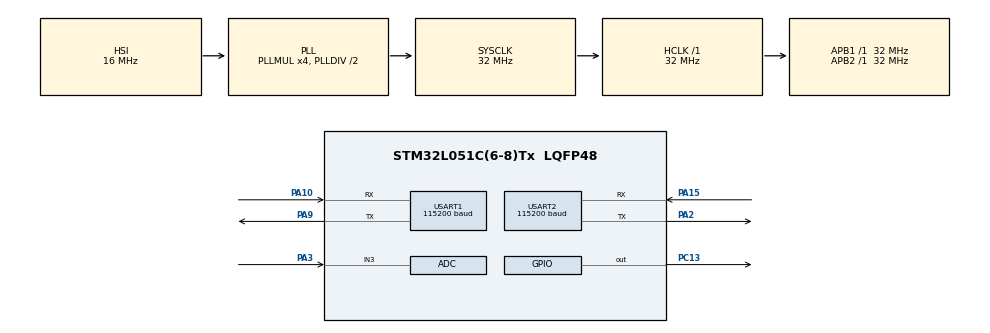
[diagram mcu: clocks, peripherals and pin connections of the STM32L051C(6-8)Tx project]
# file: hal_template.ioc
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Dma.Request0=USART2_RX
Dma.Request1=USART2_TX
Dma.USART2_RX.0.Direction=DMA_PERIPH_TO_MEMORY
Dma.USART2_RX.0.Instance=DMA1_Channel5
Dma.USART2_RX.0.MemDataAlignment=DMA_MDATAALIGN_BYTE
Dma.USART2_RX.0.MemInc=DMA_MINC_ENABLE
Dma.USART2_RX.0.Mode=DMA_CIRCULAR
Dma.USART2_RX.0.PeriphDataAlignment=DMA_PDATAALIGN_BYTE
Dma.USART2_RX.0.PeriphInc=DMA_PINC_DISABLE
Dma.USART2_RX.0.Priority=DMA_PRIORITY_VERY_HIGH
Dma.USART2_TX.1.Direction=DMA_MEMORY_TO_PERIPH
Dma.USART2_TX.1.Instance=DMA1_Channel4
Dma.USART2_TX.1.MemDataAlignment=DMA_MDATAALIGN_BYTE
Dma.USART2_TX.1.MemInc=DMA_MINC_ENABLE
Dma.USART2_TX.1.Mode=DMA_NORMAL
Dma.USART2_TX.1.PeriphDataAlignment=DMA_PDATAALIGN_BYTE
Dma.USART2_TX.1.PeriphInc=DMA_PINC_DISABLE
Dma.USART2_TX.1.Priority=DMA_PRIORITY_MEDIUM
Mcu.Family=STM32L0
Mcu.Name=STM32L051C(6-8)Tx
Mcu.Package=LQFP48
NVIC.DMA1_Channel4_5_6_7_IRQn=true\:0\:0\:false\:false\:true\:true\:true\:true
NVIC.USART1_IRQn=true\:0\:0\:false\:false\:true\:true\:true\:true
NVIC.USART2_IRQn=true\:0\:0\:false\:false\:true\:true\:true\:true
PA10.Mode=Asynchronous
PA10.Signal=USART1_RX
PA13.Mode=Serial_Wire
PA13.Signal=SYS_SWDIO
PA14.Mode=Serial_Wire
PA14.Signal=SYS_SWCLK
PA15.Mode=Asynchronous
PA15.Signal=USART2_RX
PA2.Mode=Asynchronous
PA2.Signal=USART2_TX
PA3.Mode=IN3
PA3.Signal=ADC_IN3
PA9.Mode=Asynchronous
PA9.Signal=USART1_TX
PC13.Signal=GPIO_Output
ProjectManager.HeapSize=0x80
ProjectManager.StackSize=0x900
ProjectManager.TargetToolchain=MDK-ARM V5
RCC.AHBFreq_Value=32000000
RCC.APB1Freq_Value=32000000
RCC.APB1TimFreq_Value=32000000
RCC.APB2Freq_Value=32000000
RCC.APB2TimFreq_Value=32000000
RCC.HCLKFreq_Value=32000000
RCC.HSE_VALUE=8000000
RCC.HSI16_VALUE=16000000
RCC.HSI_VALUE=16000000
RCC.LSE_VALUE=32768
RCC.MSI_VALUE=2097000
RCC.PLLMUL=RCC_PLLMUL_4
RCC.SYSCLKFreq_VALUE=32000000
RCC.SYSCLKSource=RCC_SYSCLKSOURCE_PLLCLK
RCC.VCOOutputFreq_Value=64000000
USART1.BaudRate=115200
USART1.VirtualMode-Asynchronous=VM_ASYNC
USART2.BaudRate=115200
USART2.VirtualMode-Asynchronous=VM_ASYNC
board=custom

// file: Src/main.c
/* USER CODE BEGIN Header */
/**
  ******************************************************************************
  * @file           : main.c
  * @brief          : Main program body
  ******************************************************************************
  * @attention
  *
  * <h2><center>&copy; Copyright (c) 2019 STMicroelectronics.
  * All rights reserved.</center></h2>
  *
  * This software component is licensed by ST under BSD 3-Clause license,
  * the "License"; You may not use this file except in compliance with the
  * License. You may obtain a copy of the License at:
  *                        opensource.org/licenses/BSD-3-Clause
  *
  ******************************************************************************
  */
/* USER CODE END Header */

#include "main.h"

/* USER CODE BEGIN Includes */
#include <stdio.h>
#include <string.h>
#include "ct02_guard.h"

/* USER CODE END Includes */

/* USER CODE BEGIN PTD */
typedef struct {
  uint32_t lat_udeg;
  uint32_t lng_udeg;
  char lat_dir;
  char lng_dir;
} hmi_screen_gps_t;

typedef struct {
  uint32_t hours;
  uint8_t minutes;
} hmi_screen_uptime_t;

typedef struct {
  uint8_t type;
  hmi_screen_gps_t gps;
  hmi_screen_uptime_t uptime;
  uint32_t report_count;
  uint32_t interval_s;
} hmi_screen_payload_t;

/* USER CODE END PTD */

/* USER CODE BEGIN PD */
#define CT02_UART2_DMA_RX_BUF_SIZE 128u
#define HMI_SCREEN_TX_BUF_SIZE 96u
#define HMI_SCREEN_CMD_BUF_SIZE 64u
#define HMI_SCREEN_PAYLOAD_NONE 0u
#define HMI_SCREEN_PAYLOAD_GPS 1u
#define HMI_SCREEN_PAYLOAD_UPTIME 2u
#define HMI_SCREEN_PAYLOAD_REPORT_COUNT 3u
#define HMI_SCREEN_PAYLOAD_INTERVAL 4u
#define HMI_SCREEN_PAYLOAD_MQTT_INFO 5u
#define HMI_SCREEN_GPS_CMD_COUNT 4u
#define HMI_SCREEN_UPTIME_CMD_COUNT 2u
#define HMI_SCREEN_REPORT_COUNT_CMD_COUNT 1u
#define HMI_SCREEN_INTERVAL_CMD_COUNT 1u
#define HMI_SCREEN_MQTT_INFO_CMD_COUNT 3u
#define HMI_SCREEN_CMD_GAP_MS 20u
#define HMI_SCREEN_UPTIME_PERIOD_MS 60000u
#define HMI_SCREEN_RX_FRAME_LEN 5u
#define HMI_SCREEN_RX_HEADER 0x05u
#define HMI_SCREEN_RX_OPCODE_SET_INTERVAL 0x52u
#define HMI_SCREEN_RX_TAIL 0x26u
#define HMI_SCREEN_RX_RETRY_MS 100u
#define HMI_SCREEN_INTERVAL_MIN_S 10u
#define HMI_SCREEN_INTERVAL_MAX_S 65535u
#define HMI_SCREEN_MAX_LAT_UDEG 90000000u
#define HMI_SCREEN_MAX_LNG_UDEG 180000000u
#define HMI_SCREEN_MQTT_ADDRESS "120.26.111.75:6011"
#define HMI_SCREEN_MQTT_CONNECTED_BCO 1032u
#define HMI_SCREEN_MQTT_DISCONNECTED_BCO 2178u
#define GPS_INTERVAL_EEPROM_ADDR DATA_EEPROM_BASE
#define GPS_INTERVAL_EEPROM_RETRY_MS 1000u
#define GPS_INTERVAL_EEPROM_WAIT_LIMIT 100000u
#define GPS_INTERVAL_EEPROM_CLEAR_FLAGS (FLASH_SR_EOP | FLASH_SR_WRPERR | FLASH_SR_PGAERR | FLASH_SR_SIZERR | FLASH_SR_OPTVERR | FLASH_SR_RDERR | FLASH_SR_NOTZEROERR | FLASH_SR_FWWERR)

/* USER CODE END PD */

ADC_HandleTypeDef hadc;

UART_HandleTypeDef huart1;
UART_HandleTypeDef huart2;
DMA_HandleTypeDef hdma_usart2_rx;
DMA_HandleTypeDef hdma_usart2_tx;

/* USER CODE BEGIN PV */
#if defined(HAL_UART_MODULE_ENABLED)
static ct02_guard_ctx_t g_ct02_guard;
static uint8_t g_ct02_guard_enabled = 0u;
static uint8_t g_ct02_rx_irq_armed = 0u;
static uint8_t g_ct02_uart2_dma_enabled = 0u;
static uint8_t g_ct02_uart2_dma_rx_buf[CT02_UART2_DMA_RX_BUF_SIZE];
static volatile uint16_t g_ct02_uart2_dma_last_pos = 0u;
static uint32_t g_ct02_wd_feed_snapshot = 0u;
static volatile uint8_t g_ct02_wd_timeout_flag = 0u;
static uint32_t g_ct02_wd_next_ms = 0u;
static uint32_t g_ct02_rx_retry_ms = 0u;
static volatile uint8_t g_hmi_screen_tx_busy = 0u;
static volatile uint8_t g_hmi_screen_rx_byte = 0u;
static volatile uint8_t g_hmi_screen_rx_armed = 0u;
static volatile uint8_t g_hmi_screen_set_interval_pending = 0u;
static volatile uint16_t g_hmi_screen_set_interval_s = 0u;
static uint8_t g_hmi_screen_active = 0u;
static uint8_t g_hmi_screen_cmd_index = 0u;
static uint8_t g_hmi_screen_rx_frame[HMI_SCREEN_RX_FRAME_LEN];
static uint8_t g_hmi_screen_rx_len = 0u;
static uint8_t g_hmi_screen_pending_gps_valid = 0u;
static uint8_t g_hmi_screen_pending_report_count_valid = 0u;
static uint8_t g_hmi_screen_pending_interval_valid = 0u;
static uint8_t g_hmi_screen_pending_mqtt_info_valid = 0u;
static uint8_t g_hmi_screen_pending_uptime_valid = 0u;
static uint8_t g_hmi_screen_tx_buf[HMI_SCREEN_TX_BUF_SIZE];
static uint32_t g_hmi_screen_next_tx_ms = 0u;
static uint32_t g_hmi_screen_next_uptime_ms = 0u;
static volatile uint32_t g_hmi_screen_rx_retry_ms = 0u;
static uint32_t g_hmi_screen_report_count = 0u;
static uint16_t g_gps_interval_eeprom_saved_s = HMI_SCREEN_INTERVAL_MIN_S;
static uint16_t g_gps_interval_eeprom_pending_s = 0u;
static uint32_t g_gps_interval_eeprom_retry_ms = 0u;
static uint8_t g_gps_interval_eeprom_pending = 0u;
static hmi_screen_payload_t g_hmi_screen_active_payload;
static hmi_screen_gps_t g_hmi_screen_pending_gps;
static uint32_t g_hmi_screen_pending_report_count = 0u;
static uint32_t g_hmi_screen_pending_interval_s = 0u;
static hmi_screen_uptime_t g_hmi_screen_pending_uptime;
#endif

/* USER CODE END PV */

void SystemClock_Config(void);
static void MX_GPIO_Init(void);
static void MX_DMA_Init(void);
static void MX_USART1_UART_Init(void);
static void MX_USART2_UART_Init(void);
static void MX_ADC_Init(void);
/* USER CODE BEGIN PFP */
#if defined(HAL_UART_MODULE_ENABLED)
void CT02_USART2_IdleHandler(void);
static void CT02_App_Tick(uint32_t now_ms);
static void CT02_Guard_DmaRxDrain(void);
static HAL_StatusTypeDef CT02_Guard_StartDmaRx(void);
static void CT02_Guard_AppInit(void);
static uint32_t HMI_Screen_AbsMicrodegrees(float degrees, uint32_t max_udeg);
static uint16_t HMI_Screen_AppendCommand(uint8_t *dst, uint16_t used, uint16_t cap, const char *cmd);
static HAL_StatusTypeDef HMI_Screen_StartRx(void);
static void HMI_Screen_ParseRxByte(uint8_t byte);
static uint8_t HMI_Screen_CommandCount(uint8_t payload_type);
static uint16_t HMI_Screen_BuildCommand(const hmi_screen_payload_t *payload, uint8_t cmd_index, uint8_t *dst, uint16_t cap);
static HAL_StatusTypeDef HMI_Screen_StartCommand(const hmi_screen_payload_t *payload, uint8_t cmd_index);
static HAL_StatusTypeDef HMI_Screen_StartPayload(const hmi_screen_payload_t *payload);
static HAL_StatusTypeDef HMI_Screen_StartGps(const hmi_screen_gps_t *gps);
static void HMI_Screen_Service(void);
static void HMI_Screen_RequestGps(const ct02_gps_sample_t *sample);
static void HMI_Screen_RequestReportCount(uint32_t report_count);
static void HMI_Screen_RequestInterval(uint32_t interval_s);
static void HMI_Screen_RequestMqttInfo(void);
static void HMI_Screen_RequestUptime(uint32_t now_ms);
static void HMI_Screen_UptimeTick(uint32_t now_ms);
static void HMI_Screen_RxTick(uint32_t now_ms);
static uint8_t GPS_IntervalEeprom_Load(uint16_t *interval_s);
static void GPS_IntervalEeprom_SetBaseline(uint16_t interval_s);
static void GPS_IntervalEeprom_Tick(uint32_t now_ms);
#endif

/* USER CODE END PFP */

/* USER CODE BEGIN 0 */
#if defined(HAL_UART_MODULE_ENABLED)
static uint8_t GPS_IntervalEeprom_Unpack(uint32_t record, uint16_t *interval_s)
{
  uint16_t value = (uint16_t)(record & 0xFFFFu);
  uint16_t check = (uint16_t)((record >> 16) & 0xFFFFu);

  if ((interval_s == NULL) ||
      (value < HMI_SCREEN_INTERVAL_MIN_S) ||
      (value > HMI_SCREEN_INTERVAL_MAX_S) ||
      (check != (uint16_t)~value)) {
    return 0u;
  }

  *interval_s = value;
  return 1u;
}

static uint32_t GPS_IntervalEeprom_Pack(uint16_t interval_s)
{
  return ((uint32_t)((uint16_t)~interval_s) << 16) | (uint32_t)interval_s;
}

static uint8_t GPS_IntervalEeprom_Load(uint16_t *interval_s)
{
  return GPS_IntervalEeprom_Unpack(*(__IO uint32_t *)GPS_INTERVAL_EEPROM_ADDR, interval_s);
}

static uint8_t GPS_IntervalEeprom_WaitReady(void)
{
  uint32_t guard = GPS_INTERVAL_EEPROM_WAIT_LIMIT;

  while ((FLASH->SR & FLASH_SR_BSY) != 0u) {
    if (guard == 0u) {
      return 0u;
    }
    guard--;
  }

  return 1u;
}

static uint8_t GPS_IntervalEeprom_Unlock(void)
{
  if ((FLASH->PECR & FLASH_PECR_PELOCK) != 0u) {
    __disable_irq();
    FLASH->PEKEYR = FLASH_PEKEY1;
    FLASH->PEKEYR = FLASH_PEKEY2;
    __enable_irq();
  }

  return ((FLASH->PECR & FLASH_PECR_PELOCK) == 0u) ? 1u : 0u;
}

static uint8_t GPS_IntervalEeprom_Write(uint16_t interval_s)
{
  uint32_t record = 0u;

  if ((interval_s < HMI_SCREEN_INTERVAL_MIN_S) ||
      (interval_s > HMI_SCREEN_INTERVAL_MAX_S)) {
    return 0u;
  }

  record = GPS_IntervalEeprom_Pack(interval_s);
  if (*(__IO uint32_t *)GPS_INTERVAL_EEPROM_ADDR == record) {
    return 1u;
  }

  if ((GPS_IntervalEeprom_WaitReady() == 0u) ||
      (GPS_IntervalEeprom_Unlock() == 0u)) {
    return 0u;
  }

  FLASH->SR = GPS_INTERVAL_EEPROM_CLEAR_FLAGS;
  *(__IO uint32_t *)GPS_INTERVAL_EEPROM_ADDR = record;
  if (GPS_IntervalEeprom_WaitReady() == 0u) {
    FLASH->PECR |= FLASH_PECR_PELOCK;
    return 0u;
  }
  if ((FLASH->SR & (GPS_INTERVAL_EEPROM_CLEAR_FLAGS & ~FLASH_SR_EOP)) != 0u) {
    FLASH->PECR |= FLASH_PECR_PELOCK;
    return 0u;
  }

  FLASH->PECR |= FLASH_PECR_PELOCK;
  return (*(__IO uint32_t *)GPS_INTERVAL_EEPROM_ADDR == record) ? 1u : 0u;
}

static void GPS_IntervalEeprom_SetBaseline(uint16_t interval_s)
{
  g_gps_interval_eeprom_saved_s = interval_s;
  g_gps_interval_eeprom_pending_s = 0u;
  g_gps_interval_eeprom_retry_ms = 0u;
  g_gps_interval_eeprom_pending = 0u;
}

static void GPS_IntervalEeprom_RequestSave(uint16_t interval_s)
{
  if ((interval_s < HMI_SCREEN_INTERVAL_MIN_S) ||
      (interval_s > HMI_SCREEN_INTERVAL_MAX_S)) {
    return;
  }
  if (interval_s == g_gps_interval_eeprom_saved_s) {
    g_gps_interval_eeprom_pending = 0u;
    g_gps_interval_eeprom_pending_s = 0u;
    return;
  }

  g_gps_interval_eeprom_pending_s = interval_s;
  g_gps_interval_eeprom_pending = 1u;
}

static void GPS_IntervalEeprom_Tick(uint32_t now_ms)
{
  uint16_t interval_s = 0u;

  if (g_ct02_guard_enabled != 0u) {
    GPS_IntervalEeprom_RequestSave(g_ct02_guard.report_interval_s);
  }

  if (g_gps_interval_eeprom_pending == 0u) {
    return;
  }
  if ((g_gps_interval_eeprom_retry_ms != 0u) &&
      ((int32_t)(now_ms - g_gps_interval_eeprom_retry_ms) < 0)) {
    return;
  }

  interval_s = g_gps_interval_eeprom_pending_s;
  if (GPS_IntervalEeprom_Write(interval_s) != 0u) {
    g_gps_interval_eeprom_saved_s = interval_s;
    g_gps_interval_eeprom_pending = 0u;
    g_gps_interval_eeprom_retry_ms = 0u;
  } else {
    g_gps_interval_eeprom_retry_ms = now_ms + GPS_INTERVAL_EEPROM_RETRY_MS;
  }
}

static uint32_t HMI_Screen_AbsMicrodegrees(float degrees, uint32_t max_udeg)
{
  float value = degrees;
  uint32_t scaled = 0u;

  if (value < 0.0f) {
    value = -value;
  }
  scaled = (uint32_t)((value * 1000000.0f) + 0.5f);
  if (scaled > max_udeg) {
    scaled = max_udeg;
  }
  return scaled;
}

static uint16_t HMI_Screen_AppendCommand(uint8_t *dst, uint16_t used, uint16_t cap, const char *cmd)
{
  size_t len = 0u;

  if ((dst == NULL) || (cmd == NULL) || (used >= cap)) {
    return 0u;
  }

  len = strlen(cmd);
  if (((size_t)used + len + 3u) > (size_t)cap) {
    return 0u;
  }

  memcpy(&dst[used], cmd, len);
  used = (uint16_t)(used + (uint16_t)len);
  dst[used++] = 0xFFu;
  dst[used++] = 0xFFu;
  dst[used++] = 0xFFu;
  return used;
}

static HAL_StatusTypeDef HMI_Screen_StartRx(void)
{
  HAL_StatusTypeDef hs = HAL_ERROR;

  if (huart1.Instance != USART1) {
    g_hmi_screen_rx_armed = 0u;
    return HAL_ERROR;
  }

  hs = HAL_UART_Receive_IT(&huart1, (uint8_t *)&g_hmi_screen_rx_byte, 1u);
  if ((hs == HAL_OK) || (hs == HAL_BUSY)) {
    g_hmi_screen_rx_armed = 1u;
  } else {
    g_hmi_screen_rx_armed = 0u;
    g_hmi_screen_rx_retry_ms = HAL_GetTick() + HMI_SCREEN_RX_RETRY_MS;
  }
  return hs;
}

static void HMI_Screen_ParseRxByte(uint8_t byte)
{
  uint16_t interval_s = 0u;

  if (g_hmi_screen_rx_len == 0u) {
    if (byte == HMI_SCREEN_RX_HEADER) {
      g_hmi_screen_rx_frame[0] = byte;
      g_hmi_screen_rx_len = 1u;
    }
    return;
  }

  if (g_hmi_screen_rx_len < HMI_SCREEN_RX_FRAME_LEN) {
    g_hmi_screen_rx_frame[g_hmi_screen_rx_len++] = byte;
  }

  if ((g_hmi_screen_rx_len == 2u) &&
      (g_hmi_screen_rx_frame[1] != HMI_SCREEN_RX_OPCODE_SET_INTERVAL)) {
    g_hmi_screen_rx_len = (byte == HMI_SCREEN_RX_HEADER) ? 1u : 0u;
    if (g_hmi_screen_rx_len != 0u) {
      g_hmi_screen_rx_frame[0] = byte;
    }
    return;
  }

  if (g_hmi_screen_rx_len < HMI_SCREEN_RX_FRAME_LEN) {
    return;
  }

  if ((g_hmi_screen_rx_frame[0] == HMI_SCREEN_RX_HEADER) &&
      (g_hmi_screen_rx_frame[1] == HMI_SCREEN_RX_OPCODE_SET_INTERVAL) &&
      (g_hmi_screen_rx_frame[4] == HMI_SCREEN_RX_TAIL)) {
    interval_s = (uint16_t)g_hmi_screen_rx_frame[2] |
                 ((uint16_t)g_hmi_screen_rx_frame[3] << 8);
    if ((interval_s >= HMI_SCREEN_INTERVAL_MIN_S) &&
        (interval_s <= HMI_SCREEN_INTERVAL_MAX_S)) {
      g_hmi_screen_set_interval_s = interval_s;
      g_hmi_screen_set_interval_pending = 1u;
    }
  }

  g_hmi_screen_rx_len = (byte == HMI_SCREEN_RX_HEADER) ? 1u : 0u;
  if (g_hmi_screen_rx_len != 0u) {
    g_hmi_screen_rx_frame[0] = byte;
  }
}

static uint8_t HMI_Screen_CommandCount(uint8_t payload_type)
{
  if (payload_type == HMI_SCREEN_PAYLOAD_GPS) {
    return HMI_SCREEN_GPS_CMD_COUNT;
  }
  if (payload_type == HMI_SCREEN_PAYLOAD_UPTIME) {
    return HMI_SCREEN_UPTIME_CMD_COUNT;
  }
  if (payload_type == HMI_SCREEN_PAYLOAD_REPORT_COUNT) {
    return HMI_SCREEN_REPORT_COUNT_CMD_COUNT;
  }
  if (payload_type == HMI_SCREEN_PAYLOAD_INTERVAL) {
    return HMI_SCREEN_INTERVAL_CMD_COUNT;
  }
  if (payload_type == HMI_SCREEN_PAYLOAD_MQTT_INFO) {
    return HMI_SCREEN_MQTT_INFO_CMD_COUNT;
  }
  return 0u;
}

static uint16_t HMI_Screen_BuildCommand(const hmi_screen_payload_t *payload, uint8_t cmd_index, uint8_t *dst, uint16_t cap)
{
  char cmd[HMI_SCREEN_CMD_BUF_SIZE];
  const char *device_id = NULL;
  int n = 0;

  if ((payload == NULL) || (dst == NULL)) {
    return 0u;
  }

  if (payload->type == HMI_SCREEN_PAYLOAD_GPS) {
    switch (cmd_index) {
      case 0u:
        n = snprintf(cmd, sizeof(cmd), "x0.val=%lu", (unsigned long)payload->gps.lat_udeg);
        break;
      case 1u:
        n = snprintf(cmd, sizeof(cmd), "t8.txt=\"%c\"", payload->gps.lat_dir);
        break;
      case 2u:
        n = snprintf(cmd, sizeof(cmd), "x1.val=%lu", (unsigned long)payload->gps.lng_udeg);
        break;
      case 3u:
        n = snprintf(cmd, sizeof(cmd), "t9.txt=\"%c\"", payload->gps.lng_dir);
        break;
      default:
        return 0u;
    }
  } else if (payload->type == HMI_SCREEN_PAYLOAD_UPTIME) {
    switch (cmd_index) {
      case 0u:
        n = snprintf(cmd, sizeof(cmd), "n3.val=%lu", (unsigned long)payload->uptime.hours);
        break;
      case 1u:
        n = snprintf(cmd, sizeof(cmd), "n4.val=%u", (unsigned int)payload->uptime.minutes);
        break;
      default:
        return 0u;
    }
  } else if (payload->type == HMI_SCREEN_PAYLOAD_REPORT_COUNT) {
    switch (cmd_index) {
      case 0u:
        n = snprintf(cmd, sizeof(cmd), "n2.val=%lu", (unsigned long)payload->report_count);
        break;
      default:
        return 0u;
    }
  } else if (payload->type == HMI_SCREEN_PAYLOAD_INTERVAL) {
    switch (cmd_index) {
      case 0u:
        n = snprintf(cmd, sizeof(cmd), "n0.val=%lu", (unsigned long)payload->interval_s);
        break;
      default:
        return 0u;
    }
  } else if (payload->type == HMI_SCREEN_PAYLOAD_MQTT_INFO) {
    switch (cmd_index) {
      case 0u:
        n = snprintf(cmd, sizeof(cmd), "t11.txt=\"%s\"", HMI_SCREEN_MQTT_ADDRESS);
        break;
      case 1u:
        n = snprintf(
            cmd,
            sizeof(cmd),
            "t11.bco=%u",
            (unsigned int)(((g_ct02_guard_enabled != 0u) && (g_ct02_guard.mqtt_connected != 0u)) ?
                HMI_SCREEN_MQTT_CONNECTED_BCO : HMI_SCREEN_MQTT_DISCONNECTED_BCO));
        break;
      case 2u:
        device_id = ct02_guard_get_device_id(&g_ct02_guard);
        if ((device_id == NULL) || (device_id[0] == '\0')) {
          device_id = "ct02-001";
        }
        n = snprintf(cmd, sizeof(cmd), "t13.txt=\"%s\"", device_id);
        break;
      default:
        return 0u;
    }
  } else {
    return 0u;
  }
  if ((n < 0) || ((size_t)n >= sizeof(cmd))) {
    return 0u;
  }

  return HMI_Screen_AppendCommand(dst, 0u, cap, cmd);
}

static HAL_StatusTypeDef HMI_Screen_StartCommand(const hmi_screen_payload_t *payload, uint8_t cmd_index)
{
  HAL_StatusTypeDef hs = HAL_ERROR;
  uint16_t len = 0u;

  if ((payload == NULL) || (huart1.Instance != USART1)) {
    return HAL_ERROR;
  }
  if (g_hmi_screen_tx_busy != 0u) {
    return HAL_BUSY;
  }

  len = HMI_Screen_BuildCommand(payload, cmd_index, g_hmi_screen_tx_buf, sizeof(g_hmi_screen_tx_buf));
  if (len == 0u) {
    return HAL_ERROR;
  }

  g_hmi_screen_tx_busy = 1u;
  hs = HAL_UART_Transmit_IT(&huart1, g_hmi_screen_tx_buf, len);
  if (hs != HAL_OK) {
    g_hmi_screen_tx_busy = 0u;
  }
  return hs;
}

static HAL_StatusTypeDef HMI_Screen_StartPayload(const hmi_screen_payload_t *payload)
{
  if ((payload == NULL) || (huart1.Instance != USART1) ||
      (HMI_Screen_CommandCount(payload->type) == 0u)) {
    return HAL_ERROR;
  }
  if ((g_hmi_screen_active != 0u) || (g_hmi_screen_tx_busy != 0u)) {
    return HAL_BUSY;
  }

  g_hmi_screen_active_payload = *payload;
  g_hmi_screen_active = 1u;
  g_hmi_screen_cmd_index = 0u;
  g_hmi_screen_next_tx_ms = HAL_GetTick();
  return HAL_OK;
}

static HAL_StatusTypeDef HMI_Screen_StartGps(const hmi_screen_gps_t *gps)
{
  hmi_screen_payload_t payload;

  if (gps == NULL) {
    return HAL_ERROR;
  }
  memset(&payload, 0, sizeof(payload));
  payload.type = HMI_SCREEN_PAYLOAD_GPS;
  payload.gps = *gps;
  return HMI_Screen_StartPayload(&payload);
}

static void HMI_Screen_Service(void)
{
  uint32_t now_ms = HAL_GetTick();

  if (g_hmi_screen_tx_busy != 0u) {
    return;
  }

  if (g_hmi_screen_active == 0u) {
    if (g_hmi_screen_pending_gps_valid != 0u) {
      memset(&g_hmi_screen_active_payload, 0, sizeof(g_hmi_screen_active_payload));
      g_hmi_screen_active_payload.type = HMI_SCREEN_PAYLOAD_GPS;
      g_hmi_screen_active_payload.gps = g_hmi_screen_pending_gps;
      g_hmi_screen_pending_gps_valid = 0u;
    } else if (g_hmi_screen_pending_report_count_valid != 0u) {
      memset(&g_hmi_screen_active_payload, 0, sizeof(g_hmi_screen_active_payload));
      g_hmi_screen_active_payload.type = HMI_SCREEN_PAYLOAD_REPORT_COUNT;
      g_hmi_screen_active_payload.report_count = g_hmi_screen_pending_report_count;
      g_hmi_screen_pending_report_count_valid = 0u;
    } else if (g_hmi_screen_pending_interval_valid != 0u) {
      memset(&g_hmi_screen_active_payload, 0, sizeof(g_hmi_screen_active_payload));
      g_hmi_screen_active_payload.type = HMI_SCREEN_PAYLOAD_INTERVAL;
      g_hmi_screen_active_payload.interval_s = g_hmi_screen_pending_interval_s;
      g_hmi_screen_pending_interval_valid = 0u;
    } else if (g_hmi_screen_pending_mqtt_info_valid != 0u) {
      memset(&g_hmi_screen_active_payload, 0, sizeof(g_hmi_screen_active_payload));
      g_hmi_screen_active_payload.type = HMI_SCREEN_PAYLOAD_MQTT_INFO;
      g_hmi_screen_pending_mqtt_info_valid = 0u;
    } else if (g_hmi_screen_pending_uptime_valid != 0u) {
      memset(&g_hmi_screen_active_payload, 0, sizeof(g_hmi_screen_active_payload));
      g_hmi_screen_active_payload.type = HMI_SCREEN_PAYLOAD_UPTIME;
      g_hmi_screen_active_payload.uptime = g_hmi_screen_pending_uptime;
      g_hmi_screen_pending_uptime_valid = 0u;
    } else {
      return;
    }
    g_hmi_screen_active = 1u;
    g_hmi_screen_cmd_index = 0u;
    g_hmi_screen_next_tx_ms = now_ms;
  }

  if ((int32_t)(now_ms - g_hmi_screen_next_tx_ms) < 0) {
    return;
  }

  if (HMI_Screen_StartCommand(&g_hmi_screen_active_payload, g_hmi_screen_cmd_index) == HAL_ERROR) {
    g_hmi_screen_active = 0u;
    g_hmi_screen_active_payload.type = HMI_SCREEN_PAYLOAD_NONE;
  }
}

static void HMI_Screen_RequestGps(const ct02_gps_sample_t *sample)
{
  hmi_screen_gps_t gps;

  gps.lat_udeg = 0u;
  gps.lng_udeg = 0u;
  gps.lat_dir = 'N';
  gps.lng_dir = 'E';

  if ((sample != NULL) && (sample->valid != 0u) && (sample->fix_status != 0u)) {
    gps.lat_dir = (sample->lat < 0.0f) ? 'S' : 'N';
    gps.lng_dir = (sample->lng < 0.0f) ? 'W' : 'E';
    gps.lat_udeg = HMI_Screen_AbsMicrodegrees(sample->lat, HMI_SCREEN_MAX_LAT_UDEG);
    gps.lng_udeg = HMI_Screen_AbsMicrodegrees(sample->lng, HMI_SCREEN_MAX_LNG_UDEG);
  }

  if (HMI_Screen_StartGps(&gps) == HAL_OK) {
    HMI_Screen_Service();
  } else {
    g_hmi_screen_pending_gps = gps;
    g_hmi_screen_pending_gps_valid = 1u;
  }
}

static void HMI_Screen_RequestReportCount(uint32_t report_count)
{
  hmi_screen_payload_t payload;

  memset(&payload, 0, sizeof(payload));
  payload.type = HMI_SCREEN_PAYLOAD_REPORT_COUNT;
  payload.report_count = report_count;

  if (HMI_Screen_StartPayload(&payload) == HAL_OK) {
    HMI_Screen_Service();
  } else {
    g_hmi_screen_pending_report_count = report_count;
    g_hmi_screen_pending_report_count_valid = 1u;
  }
}

static void HMI_Screen_RequestInterval(uint32_t interval_s)
{
  hmi_screen_payload_t payload;

  memset(&payload, 0, sizeof(payload));
  payload.type = HMI_SCREEN_PAYLOAD_INTERVAL;
  payload.interval_s = interval_s;

  if (HMI_Screen_StartPayload(&payload) == HAL_OK) {
    HMI_Screen_Service();
  } else {
    g_hmi_screen_pending_interval_s = interval_s;
    g_hmi_screen_pending_interval_valid = 1u;
  }
}

static void HMI_Screen_RequestMqttInfo(void)
{
  hmi_screen_payload_t payload;

  memset(&payload, 0, sizeof(payload));
  payload.type = HMI_SCREEN_PAYLOAD_MQTT_INFO;

  if (HMI_Screen_StartPayload(&payload) == HAL_OK) {
    HMI_Screen_Service();
  } else {
    g_hmi_screen_pending_mqtt_info_valid = 1u;
  }
}

static void HMI_Screen_RequestUptime(uint32_t now_ms)
{
  hmi_screen_payload_t payload;
  uint32_t total_minutes = now_ms / HMI_SCREEN_UPTIME_PERIOD_MS;

  memset(&payload, 0, sizeof(payload));
  payload.type = HMI_SCREEN_PAYLOAD_UPTIME;
  payload.uptime.hours = total_minutes / 60u;
  payload.uptime.minutes = (uint8_t)(total_minutes % 60u);

  if (HMI_Screen_StartPayload(&payload) == HAL_OK) {
    HMI_Screen_Service();
  } else {
    g_hmi_screen_pending_uptime = payload.uptime;
    g_hmi_screen_pending_uptime_valid = 1u;
  }
}

static void HMI_Screen_UptimeTick(uint32_t now_ms)
{
  if (g_hmi_screen_next_uptime_ms == 0u) {
    g_hmi_screen_next_uptime_ms = now_ms + HMI_SCREEN_UPTIME_PERIOD_MS;
    return;
  }
  if ((int32_t)(now_ms - g_hmi_screen_next_uptime_ms) < 0) {
    return;
  }
  HMI_Screen_RequestUptime(now_ms);
  g_hmi_screen_next_uptime_ms = now_ms + HMI_SCREEN_UPTIME_PERIOD_MS;
}

static void HMI_Screen_RxTick(uint32_t now_ms)
{
  uint16_t interval_s = 0u;

  if ((g_hmi_screen_rx_armed == 0u) &&
      ((int32_t)(now_ms - g_hmi_screen_rx_retry_ms) >= 0)) {
    (void)HMI_Screen_StartRx();
  }

  if (g_hmi_screen_set_interval_pending == 0u) {
    return;
  }

  __disable_irq();
  interval_s = g_hmi_screen_set_interval_s;
  g_hmi_screen_set_interval_pending = 0u;
  __enable_irq();

  if ((interval_s < HMI_SCREEN_INTERVAL_MIN_S) ||
      (interval_s > HMI_SCREEN_INTERVAL_MAX_S)) {
    return;
  }

  if (g_ct02_guard_enabled != 0u) {
    ct02_guard_set_report_interval(&g_ct02_guard, interval_s);
  }
  HMI_Screen_RequestInterval((uint32_t)interval_s);
}

void ct02_guard_on_mqtt_up_sample(const ct02_gps_sample_t *sample)
{
  HMI_Screen_RequestGps(sample);
  if (g_hmi_screen_report_count < 0xFFFFFFFFu) {
    g_hmi_screen_report_count++;
  }
  HMI_Screen_RequestReportCount(g_hmi_screen_report_count);
  HMI_Screen_RequestInterval((uint32_t)g_ct02_guard.report_interval_s);
  HMI_Screen_RequestMqttInfo();
}

static void CT02_App_Tick(uint32_t now_ms)
{
  uint32_t feed_counter = 0u;
  HAL_StatusTypeDef hs = HAL_ERROR;

  if (!g_ct02_guard_enabled) {
    return;
  }

  if ((!g_ct02_rx_irq_armed) && (now_ms >= g_ct02_rx_retry_ms) && (g_ct02_guard.cfg.huart != NULL)) {
    hs = CT02_Guard_StartDmaRx();
    if (hs == HAL_OK) {
      g_ct02_uart2_dma_enabled = 1u;
      g_ct02_rx_irq_armed = 1u;
    } else {
      hs = ct02_guard_start_rx_irq(&g_ct02_guard);
      if (hs == HAL_OK) {
        g_ct02_uart2_dma_enabled = 0u;
        g_ct02_rx_irq_armed = 1u;
      } else {
        g_ct02_rx_retry_ms = now_ms + 100u;
      }
    }
  }

  if (now_ms < g_ct02_wd_next_ms) {
    return;
  }
  g_ct02_wd_next_ms = now_ms + 1500u;

  feed_counter = g_ct02_guard.guard_feed_counter;
  if (g_ct02_guard.guard_mode == 0u) {
    g_ct02_wd_feed_snapshot = feed_counter;
    g_ct02_wd_timeout_flag = 0u;
    return;
  }

  if (feed_counter == g_ct02_wd_feed_snapshot) {
    g_ct02_wd_timeout_flag = 1u;
  } else {
    g_ct02_wd_feed_snapshot = feed_counter;
    g_ct02_wd_timeout_flag = 0u;
  }
}

static void CT02_Guard_DmaRxDrain(void)
{
  uint16_t dma_pos = 0u;
  uint16_t last = 0u;

  if (!g_ct02_guard_enabled || !g_ct02_uart2_dma_enabled) {
    return;
  }
  if ((g_ct02_guard.cfg.huart == NULL) || (g_ct02_guard.cfg.huart->hdmarx == NULL)) {
    return;
  }

  dma_pos = (uint16_t)(CT02_UART2_DMA_RX_BUF_SIZE - __HAL_DMA_GET_COUNTER(g_ct02_guard.cfg.huart->hdmarx));
  if (dma_pos >= CT02_UART2_DMA_RX_BUF_SIZE) {
    dma_pos = 0u;
  }

  last = g_ct02_uart2_dma_last_pos;
  while (last != dma_pos) {
    ct02_guard_on_rx_byte(&g_ct02_guard, g_ct02_uart2_dma_rx_buf[last]);
    last++;
    if (last >= CT02_UART2_DMA_RX_BUF_SIZE) {
      last = 0u;
    }
  }
  g_ct02_uart2_dma_last_pos = last;
}

static HAL_StatusTypeDef CT02_Guard_StartDmaRx(void)
{
  HAL_StatusTypeDef hs = HAL_ERROR;

  if (!g_ct02_guard_enabled) {
    return HAL_ERROR;
  }
  if ((g_ct02_guard.cfg.huart == NULL) || (g_ct02_guard.cfg.huart->Instance != USART2)) {
    return HAL_ERROR;
  }
  if (g_ct02_guard.cfg.huart->hdmarx == NULL) {
    return HAL_ERROR;
  }

  (void)HAL_UART_DMAStop(g_ct02_guard.cfg.huart);
  g_ct02_uart2_dma_last_pos = 0u;
  hs = HAL_UART_Receive_DMA(g_ct02_guard.cfg.huart, g_ct02_uart2_dma_rx_buf, CT02_UART2_DMA_RX_BUF_SIZE);
  if (hs != HAL_OK) {
    return hs;
  }

  __HAL_UART_ENABLE_IT(g_ct02_guard.cfg.huart, UART_IT_IDLE);
  return HAL_OK;
}

void CT02_USART2_IdleHandler(void)
{
  CT02_Guard_DmaRxDrain();
}

static void CT02_Guard_AppInit(void)
{
  ct02_guard_cfg_t cfg;
  UART_HandleTypeDef *guard_uart = NULL;
  uint16_t stored_interval_s = 0u;

  memset(&cfg, 0, sizeof(cfg));
  cfg.huart = NULL;
  cfg.device_id_fallback = "ct02-001";
  cfg.report_interval_s = 10;
  if (GPS_IntervalEeprom_Load(&stored_interval_s) != 0u) {
    cfg.report_interval_s = stored_interval_s;
  }
  cfg.health_interval_s = 30;
  cfg.snapshot_max_attempts = 30;
  cfg.gps_query_interval_s = 30;
  cfg.connect_clean_session = 0;
  cfg.connect_keepalive_s = 60;
  cfg.trace_cb = NULL;
  cfg.trace_user_ctx = NULL;

  GPS_IntervalEeprom_SetBaseline(cfg.report_interval_s);
  ct02_guard_init(&g_ct02_guard, &cfg);

  /* CubeMX regenerated code provides huart2 when USART2 is enabled. */
  if (huart2.Instance != NULL) {
    guard_uart = &huart2;
  }

  if (guard_uart != NULL) {
    ct02_guard_set_uart(&g_ct02_guard, guard_uart);
    g_ct02_guard_enabled = 1u;
    g_ct02_wd_feed_snapshot = g_ct02_guard.guard_feed_counter;
    g_ct02_wd_timeout_flag = 0u;
    g_ct02_wd_next_ms = HAL_GetTick() + 1500u;
    if (CT02_Guard_StartDmaRx() == HAL_OK) {
      g_ct02_uart2_dma_enabled = 1u;
      g_ct02_rx_irq_armed = 1u;
    } else if (ct02_guard_start_rx_irq(&g_ct02_guard) == HAL_OK) {
      g_ct02_uart2_dma_enabled = 0u;
      g_ct02_rx_irq_armed = 1u;
    } else {
      g_ct02_rx_irq_armed = 0u;
      g_ct02_rx_retry_ms = HAL_GetTick() + 100u;
    }
  }
}

void HAL_UART_RxCpltCallback(UART_HandleTypeDef *huart)
{
  if (huart == &huart1) {
    g_hmi_screen_rx_armed = 0u;
    HMI_Screen_ParseRxByte(g_hmi_screen_rx_byte);
    (void)HMI_Screen_StartRx();
    return;
  }

  if (!g_ct02_guard_enabled) {
    return;
  }
  if (huart == g_ct02_guard.cfg.huart) {
    if (g_ct02_uart2_dma_enabled) {
      CT02_Guard_DmaRxDrain();
    } else {
      ct02_guard_on_rx_byte(&g_ct02_guard, g_ct02_guard.rx_it_byte);
      if (ct02_guard_start_rx_irq(&g_ct02_guard) == HAL_OK) {
        g_ct02_rx_irq_armed = 1u;
      } else {
        g_ct02_rx_irq_armed = 0u;
        g_ct02_rx_retry_ms = HAL_GetTick() + 100u;
      }
    }
  }
}

void HAL_UART_RxHalfCpltCallback(UART_HandleTypeDef *huart)
{
  if (!g_ct02_guard_enabled) {
    return;
  }
  if ((huart == g_ct02_guard.cfg.huart) && g_ct02_uart2_dma_enabled) {
    CT02_Guard_DmaRxDrain();
  }
}

void HAL_UART_TxCpltCallback(UART_HandleTypeDef *huart)
{
  uint32_t now_ms = HAL_GetTick();

  if (huart == &huart1) {
    g_hmi_screen_tx_busy = 0u;
    if (g_hmi_screen_active != 0u) {
      g_hmi_screen_cmd_index++;
      if (g_hmi_screen_cmd_index >= HMI_Screen_CommandCount(g_hmi_screen_active_payload.type)) {
        g_hmi_screen_active = 0u;
        g_hmi_screen_active_payload.type = HMI_SCREEN_PAYLOAD_NONE;
      } else {
        g_hmi_screen_next_tx_ms = now_ms + HMI_SCREEN_CMD_GAP_MS;
      }
    }
    return;
  }

  if (!g_ct02_guard_enabled) {
    return;
  }
  if (huart == g_ct02_guard.cfg.huart) {
    g_ct02_guard.tx_dma_busy = 0u;
    if (g_ct02_guard.guard_mode != 0u) {
      g_ct02_guard.last_guard_feed_ms = now_ms;
      g_ct02_guard.guard_feed_counter++;
      g_ct02_guard.wd_timeout_flag = 0u;
      g_ct02_wd_feed_snapshot = g_ct02_guard.guard_feed_counter;
    }
  }
}

void HAL_UART_ErrorCallback(UART_HandleTypeDef *huart)
{
  if (huart == &huart1) {
    g_hmi_screen_tx_busy = 0u;
    g_hmi_screen_active = 0u;
    g_hmi_screen_active_payload.type = HMI_SCREEN_PAYLOAD_NONE;
    g_hmi_screen_rx_armed = 0u;
    g_hmi_screen_rx_retry_ms = HAL_GetTick() + HMI_SCREEN_RX_RETRY_MS;
    return;
  }

  if (!g_ct02_guard_enabled) {
    return;
  }
  if (huart == g_ct02_guard.cfg.huart) {
    g_ct02_rx_irq_armed = 0u;
    if (g_ct02_uart2_dma_enabled) {
      if (CT02_Guard_StartDmaRx() == HAL_OK) {
        g_ct02_rx_irq_armed = 1u;
      } else {
        g_ct02_rx_retry_ms = HAL_GetTick() + 100u;
      }
    } else if (ct02_guard_start_rx_irq(&g_ct02_guard) == HAL_OK) {
      g_ct02_rx_irq_armed = 1u;
    } else {
      g_ct02_rx_retry_ms = HAL_GetTick() + 100u;
    }
  }
}
#endif
/* USER CODE END 0 */

int main(void)
{

  /* MCU Configuration--------------------------------------------------------*/

  /* Reset of all peripherals, Initializes the Flash interface and the Systick. */
  HAL_Init();

  /* Configure the system clock */
  SystemClock_Config();

  /* Initialize all configured peripherals */
  MX_GPIO_Init();
  MX_DMA_Init();
  MX_USART1_UART_Init();
  MX_USART2_UART_Init();
  MX_ADC_Init();
  /* USER CODE BEGIN 2 */
#if defined(HAL_UART_MODULE_ENABLED)
  (void)HMI_Screen_StartRx();
  CT02_Guard_AppInit();
#endif

  /* USER CODE END 2 */

  /* Infinite loop */
  while (1)
  {

    /* USER CODE BEGIN 3 */
#if defined(HAL_UART_MODULE_ENABLED)
    uint32_t now_ms = HAL_GetTick();
    if (g_ct02_wd_timeout_flag != 0u) {
      g_ct02_guard.wd_timeout_flag = 1u;
      g_ct02_wd_timeout_flag = 0u;
    }
    if (g_ct02_uart2_dma_enabled) {
      CT02_Guard_DmaRxDrain();
    }
    HMI_Screen_RxTick(now_ms);
    if (g_ct02_guard_enabled) {
      ct02_guard_tick(&g_ct02_guard, now_ms);
    }
    GPS_IntervalEeprom_Tick(now_ms);
    HMI_Screen_UptimeTick(now_ms);
    HMI_Screen_Service();
    CT02_App_Tick(now_ms);
#endif
    HAL_Delay(1);
  }
  /* USER CODE END 3 */
}

void SystemClock_Config(void)
{
  RCC_OscInitTypeDef RCC_OscInitStruct = {0};
  RCC_ClkInitTypeDef RCC_ClkInitStruct = {0};
  RCC_PeriphCLKInitTypeDef PeriphClkInit = {0};

  /** Configure the main internal regulator output voltage
  */
  __HAL_PWR_VOLTAGESCALING_CONFIG(PWR_REGULATOR_VOLTAGE_SCALE1);
  /** Initializes the CPU, AHB and APB busses clocks
  */
  RCC_OscInitStruct.OscillatorType = RCC_OSCILLATORTYPE_HSI;
  RCC_OscInitStruct.HSIState = RCC_HSI_ON;
  RCC_OscInitStruct.HSICalibrationValue = RCC_HSICALIBRATION_DEFAULT;
  RCC_OscInitStruct.PLL.PLLState = RCC_PLL_ON;
  RCC_OscInitStruct.PLL.PLLSource = RCC_PLLSOURCE_HSI;
  RCC_OscInitStruct.PLL.PLLMUL = RCC_PLLMUL_4;
  RCC_OscInitStruct.PLL.PLLDIV = RCC_PLLDIV_2;
  if (HAL_RCC_OscConfig(&RCC_OscInitStruct) != HAL_OK)
  {
    Error_Handler();
  }
  /** Initializes the CPU, AHB and APB busses clocks
  */
  RCC_ClkInitStruct.ClockType = RCC_CLOCKTYPE_HCLK|RCC_CLOCKTYPE_SYSCLK
                              |RCC_CLOCKTYPE_PCLK1|RCC_CLOCKTYPE_PCLK2;
  RCC_ClkInitStruct.SYSCLKSource = RCC_SYSCLKSOURCE_PLLCLK;
  RCC_ClkInitStruct.AHBCLKDivider = RCC_SYSCLK_DIV1;
  RCC_ClkInitStruct.APB1CLKDivider = RCC_HCLK_DIV1;
  RCC_ClkInitStruct.APB2CLKDivider = RCC_HCLK_DIV1;

  if (HAL_RCC_ClockConfig(&RCC_ClkInitStruct, FLASH_LATENCY_1) != HAL_OK)
  {
    Error_Handler();
  }
  PeriphClkInit.PeriphClockSelection = RCC_PERIPHCLK_USART1|RCC_PERIPHCLK_USART2;
  PeriphClkInit.Usart1ClockSelection = RCC_USART1CLKSOURCE_PCLK2;
  PeriphClkInit.Usart2ClockSelection = RCC_USART2CLKSOURCE_PCLK1;
  if (HAL_RCCEx_PeriphCLKConfig(&PeriphClkInit) != HAL_OK)
  {
    Error_Handler();
  }
}

static void MX_ADC_Init(void)
{

  ADC_ChannelConfTypeDef sConfig = {0};

  /** Configure the global features of the ADC (Clock, Resolution, Data Alignment and number of conversion)
  */
  hadc.Instance = ADC1;
  hadc.Init.OversamplingMode = DISABLE;
  hadc.Init.ClockPrescaler = ADC_CLOCK_SYNC_PCLK_DIV2;
  hadc.Init.Resolution = ADC_RESOLUTION_12B;
  hadc.Init.SamplingTime = ADC_SAMPLETIME_1CYCLE_5;
  hadc.Init.ScanConvMode = ADC_SCAN_DIRECTION_FORWARD;
  hadc.Init.DataAlign = ADC_DATAALIGN_RIGHT;
  hadc.Init.ContinuousConvMode = DISABLE;
  hadc.Init.DiscontinuousConvMode = DISABLE;
  hadc.Init.ExternalTrigConvEdge = ADC_EXTERNALTRIGCONVEDGE_NONE;
  hadc.Init.ExternalTrigConv = ADC_SOFTWARE_START;
  hadc.Init.DMAContinuousRequests = DISABLE;
  hadc.Init.EOCSelection = ADC_EOC_SINGLE_CONV;
  hadc.Init.Overrun = ADC_OVR_DATA_PRESERVED;
  hadc.Init.LowPowerAutoWait = DISABLE;
  hadc.Init.LowPowerFrequencyMode = DISABLE;
  hadc.Init.LowPowerAutoPowerOff = DISABLE;
  if (HAL_ADC_Init(&hadc) != HAL_OK)
  {
    Error_Handler();
  }
  /** Configure for the selected ADC regular channel to be converted.
  */
  sConfig.Channel = ADC_CHANNEL_3;
  sConfig.Rank = ADC_RANK_CHANNEL_NUMBER;
  if (HAL_ADC_ConfigChannel(&hadc, &sConfig) != HAL_OK)
  {
    Error_Handler();
  }

}

static void MX_USART1_UART_Init(void)
{

  huart1.Instance = USART1;
  huart1.Init.BaudRate = 115200;
  huart1.Init.WordLength = UART_WORDLENGTH_8B;
  huart1.Init.StopBits = UART_STOPBITS_1;
  huart1.Init.Parity = UART_PARITY_NONE;
  huart1.Init.Mode = UART_MODE_TX_RX;
  huart1.Init.HwFlowCtl = UART_HWCONTROL_NONE;
  huart1.Init.OverSampling = UART_OVERSAMPLING_16;
  huart1.Init.OneBitSampling = UART_ONE_BIT_SAMPLE_DISABLE;
  huart1.AdvancedInit.AdvFeatureInit = UART_ADVFEATURE_NO_INIT;
  if (HAL_UART_Init(&huart1) != HAL_OK)
  {
    Error_Handler();
  }

}

static void MX_USART2_UART_Init(void)
{

  huart2.Instance = USART2;
  huart2.Init.BaudRate = 115200;
  huart2.Init.WordLength = UART_WORDLENGTH_8B;
  huart2.Init.StopBits = UART_STOPBITS_1;
  huart2.Init.Parity = UART_PARITY_NONE;
  huart2.Init.Mode = UART_MODE_TX_RX;
  huart2.Init.HwFlowCtl = UART_HWCONTROL_NONE;
  huart2.Init.OverSampling = UART_OVERSAMPLING_16;
  huart2.Init.OneBitSampling = UART_ONE_BIT_SAMPLE_DISABLE;
  huart2.AdvancedInit.AdvFeatureInit = UART_ADVFEATURE_NO_INIT;
  if (HAL_UART_Init(&huart2) != HAL_OK)
  {
    Error_Handler();
  }

}

static void MX_DMA_Init(void)
{

  /* DMA controller clock enable */
  __HAL_RCC_DMA1_CLK_ENABLE();

  /* DMA interrupt init */
  /* DMA1_Channel4_5_6_7_IRQn interrupt configuration */
  HAL_NVIC_SetPriority(DMA1_Channel4_5_6_7_IRQn, 0, 0);
  HAL_NVIC_EnableIRQ(DMA1_Channel4_5_6_7_IRQn);

}

static void MX_GPIO_Init(void)
{
  GPIO_InitTypeDef GPIO_InitStruct = {0};

  /* GPIO Ports Clock Enable */
  __HAL_RCC_GPIOC_CLK_ENABLE();
  __HAL_RCC_GPIOA_CLK_ENABLE();

  /*Configure GPIO pin Output Level */
  HAL_GPIO_WritePin(GPIOC, GPIO_PIN_13, GPIO_PIN_RESET);

  /*Configure GPIO pin : PC13 */
  GPIO_InitStruct.Pin = GPIO_PIN_13;
  GPIO_InitStruct.Mode = GPIO_MODE_OUTPUT_PP;
  GPIO_InitStruct.Pull = GPIO_NOPULL;
  GPIO_InitStruct.Speed = GPIO_SPEED_FREQ_LOW;
  HAL_GPIO_Init(GPIOC, &GPIO_InitStruct);

}

void Error_Handler(void)
{
}

/************************ (C) COPYRIGHT STMicroelectronics *****END OF FILE****/
